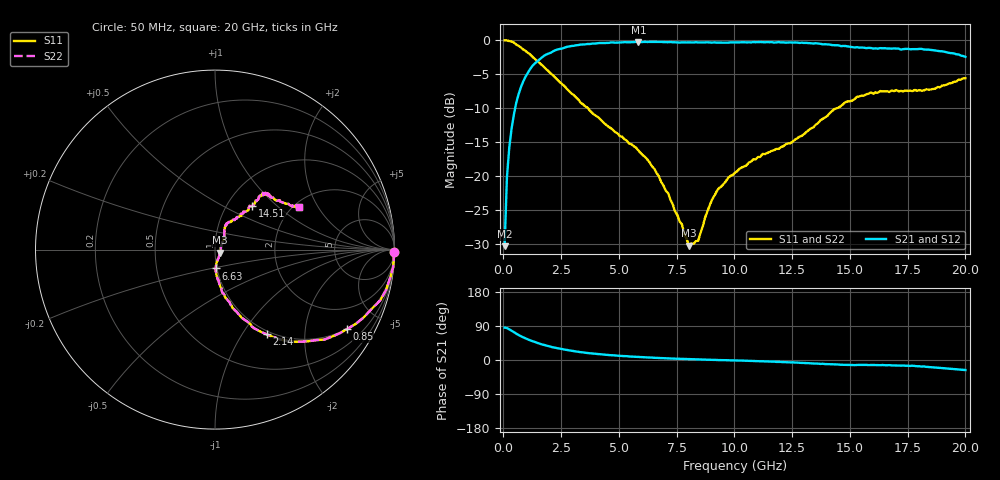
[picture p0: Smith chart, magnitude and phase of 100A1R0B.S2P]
!  American Technical Ceramics  Date:  3/13/98
!  One Norden Lane
!  Huntington Station,  NY.  11746-2102
!  Tel:  (516) 547-5700  Fax:  (516) 547-5748
!  Part Number  100A1R0B
!  Description: Porcelain, High Q, Low ESR
!  Application: Bypass, Coupling, Timing, Feedback
!  Tuning, Impedance Match, Blocking
# GHZ S DB R 50
! Freq  |S11|  S11 Ph  |S21|  S21 Ph  |S12|  S12 Ph  |S22|  S22 Ph
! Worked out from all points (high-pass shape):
!   201 points, 50 MHz to 20 GHz, reference 50 ohm
!   highest |S21| = -0.23 dB at 5.84 GHz (marker M1); lowest = -30.3 dB at 50 MHz (marker M2)
!   |S21| within 3 dB of the highest: 1.419 GHz to end of sweep
!   lowest |S11| = -30.3 dB at 8.03 GHz (marker M3), VSWR 1.06, Z = 52.6 - j1.76 ohm
!   |S11| at or under -10 dB: 3.658 GHz to 14.44 GHz (10.78 GHz wide, 119 % of centre)
!   |S22| runs from -30.3 to 0.0 dB; largest |S21 - S12| = 0
!   S11 on the Smith chart (normalised r, x): 50 MHz: open; 850 MHz: 0.99, -3.32; 2.14 GHz: 0.95, -1.29; 6.63 GHz: 0.99, -0.21; 14.51 GHz: 1.30, +0.71; 20 GHz: 2.12, +1.41
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0.05  -0.02 -0.9  -30.34 85.5  -30.34 85.5  -0.02 -0.9
0.15  -0.02 -5.7  -20.24 84.3  -20.24 84.3  -0.02 -5.7
0.25  -0.11 -9.5  -15.89 80.8  -15.89 80.8  -0.11 -9.5
0.55  -0.62 -21.0  -9.25 69.6  -9.25 69.6  -0.62 -21.0
0.85  -1.33 -31.1  -6.11 59.9  -6.11 59.9  -1.33 -31.1
1.35  -2.72 -44.2  -3.43 47.7  -3.43 47.7  -2.72 -44.2
2.14  -5.15 -58.7  -1.64 33.5  -1.64 33.5  -5.15 -58.7
3.44  -9.42 -73.4  -0.61 20.1  -0.61 20.1  -9.42 -73.4
5.84  -16.23 -85.4  -0.23 8.2  -0.23 8.2  -16.23 -85.4
6.63  -19.55 -87.9  -0.24 5.6  -0.24 5.6  -19.55 -87.9
6.73  -20.05 -87.7  -0.23 5.2  -0.23 5.2  -20.05 -87.7
7.73  -27.14 -56.5  -0.30 2.9  -0.30 2.9  -27.14 -56.5
8.03  -30.26 -33.1  -0.30 2.3  -0.30 2.3  -30.26 -33.1
8.43  -29.55 16.0  -0.31 1.6  -0.31 1.6  -29.55 16.0
9.23  -22.26 51.6  -0.34 -0.1  -0.34 -0.1  -22.26 51.6
10.03  -19.50 60.3  -0.30 -1.3  -0.30 -1.3  -19.50 60.3
13.42  -12.83 54.0  -0.47 -9.3  -0.47 -9.3  -12.83 54.0
14.51  -9.91 49.6  -0.74 -11.9  -0.74 -11.9  -9.91 49.6
15.91  -7.67 49.8  -1.13 -13.2  -1.13 -13.2  -7.67 49.8
16.71  -7.62 47.7  -1.20 -13.6  -1.20 -13.6  -7.62 47.7
18.1  -7.42 43.4  -1.26 -17.4  -1.26 -17.4  -7.42 43.4
20  -5.58 27.1  -2.43 -26.5  -2.43 -26.5  -5.58 27.1
